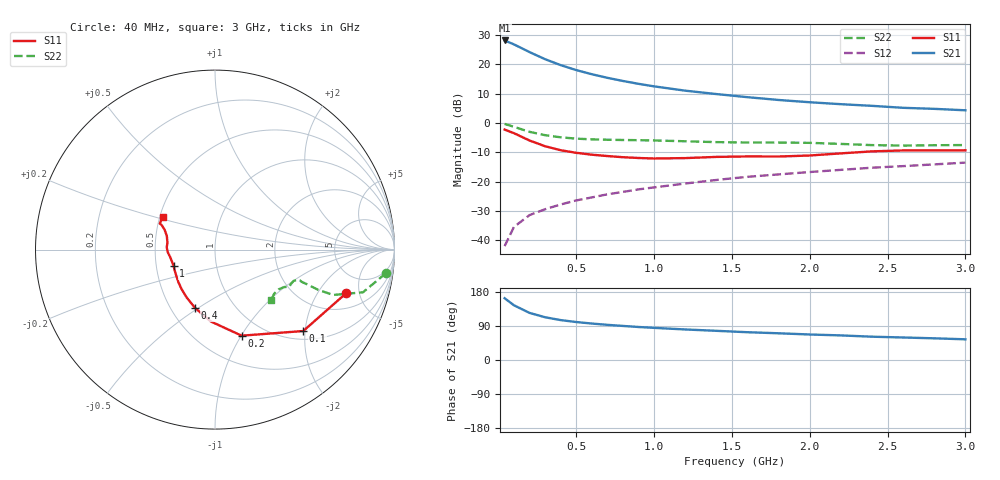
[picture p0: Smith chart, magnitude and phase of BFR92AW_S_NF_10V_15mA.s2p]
! Filename:  BFR92AWI.S2P  Version:  4.0
! Philips part #: BFR92AW  Date: Jun 1994
! Bias condition: Vce=10V, Ic=15mA
#  MHz  S  MA  R  50
! Freq  S11  S21  S12  S22  !GUM [dB]
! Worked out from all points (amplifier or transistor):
!   21 points, 40 MHz to 3 GHz, reference 50 ohm
!   highest |S21| = 28.1 dB at 40 MHz (marker M1)
!   |S21| within 3 dB of that: start of sweep to 163.5 MHz
!   unconditionally stable (mu >= 1): 634.7 MHz to end of sweep
!   at 300 MHz: K = 0.75, MSG = 25.5 dB, |S12| = -29.4 dB
!   at 1 GHz: K = 1.10, MAG = 15.2 dB, |S12| = -21.9 dB
!   at 3 GHz: K = 1.09, MAG = 7.0 dB, |S12| = -13.5 dB
!   lowest NFmin = 2.30 dB at 500 MHz
!   S11 on the Smith chart (normalised r, x): 40 MHz: 3.09, -3.69; 100 MHz: 1.19, -1.95; 200 MHz: 0.78, -1.00; 400 MHz: 0.66, -0.48; 1 GHz: 0.62, -0.12; 3 GHz: 0.52, +0.21
40  0.77 -18.4  25.27 163.0  0.008 80.7  0.961 -7.9
100  0.669 -42.7  21.66 144.4  0.017 70.1  0.858 -16.1
200  0.502 -72.8  16.02 124.3  0.027 63.1  0.705 -21.0
300  0.401 -93.4  12.13 112.8  0.034 62.4  0.618 -21.3
400  0.343 -109.0  9.616 105.3  0.041 63.8  0.569 -20.9
500  0.31 -120.6  7.917 100.2  0.048 65.4  0.54 -20.6
600  0.288 -130.4  6.737 96.2  0.054 67.2  0.525 -20.5
700  0.273 -138.3  5.849 92.8  0.061 68.6  0.517 -20.4
800  0.261 -145.5  5.169 89.9  0.067 69.8  0.512 -20.3
900  0.253 -152.3  4.624 87.1  0.074 70.6  0.508 -20.1
1000  0.248 -158.7  4.185 84.8  0.08 71.4  0.503 -20.0
1200  0.252 -169.6  3.535 80.6  0.093 72.3  0.487 -20.2
1400  0.264 -177.0  3.097 77.0  0.107 73.1  0.471 -21.8
1600  0.269 177.6  2.739 73.3  0.121 73.5  0.464 -24.6
1800  0.268 171.6  2.455 70.5  0.133 74.1  0.463 -26.2
2000  0.279 164.1  2.246 67.3  0.146 74.5  0.458 -27.1
2200  0.303 158.3  2.082 64.9  0.159 74.8  0.439 -28.3
2400  0.328 155.2  1.951 61.5  0.173 74.8  0.419 -31.8
2600  0.34 154.8  1.806 59.4  0.184 74.8  0.411 -36.6
2800  0.341 152.5  1.734 57.2  0.197 75.5  0.417 -40.1
3000  0.342 147.9  1.639 54.6  0.211 75.6  0.42 -42.0
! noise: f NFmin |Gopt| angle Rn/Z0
500  2.3  0.35  18.8  0.47
1000  2.8  0.252  47.3  0.49
2000  3.7  0.166  173  0.33
